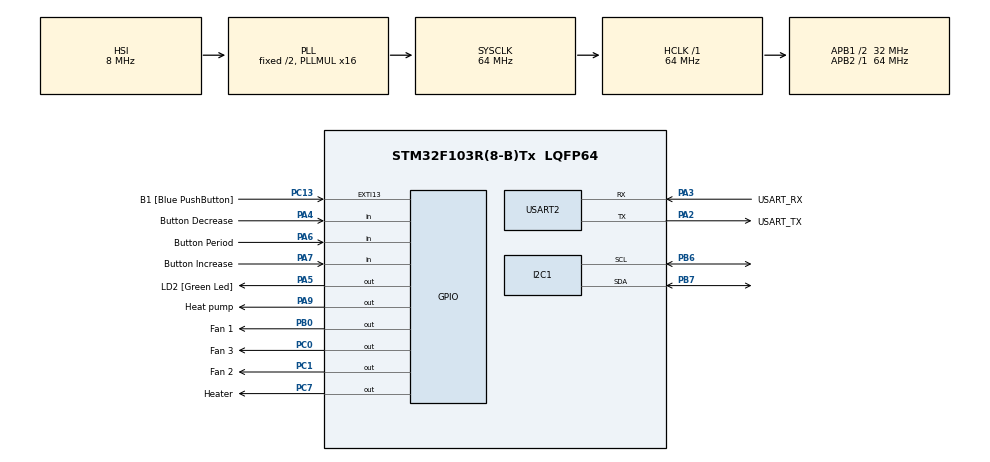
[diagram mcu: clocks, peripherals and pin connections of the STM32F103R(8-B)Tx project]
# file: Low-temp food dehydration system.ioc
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Mcu.Family=STM32F1
Mcu.Name=STM32F103R(8-B)Tx
Mcu.Package=LQFP64
NVIC.EXTI15_10_IRQn=true\:0\:0\:false\:false\:true\:true\:true
NVIC.PriorityGroup=NVIC_PRIORITYGROUP_4
NVIC.TIM2_IRQn=true\:0\:0\:false\:false\:true\:true\:true
NVIC.TIM3_IRQn=true\:0\:0\:false\:false\:true\:true\:true
PA13.GPIO_Label=TMS
PA13.Mode=Serial_Wire
PA13.Signal=SYS_JTMS-SWDIO
PA14.GPIO_Label=TCK
PA14.Mode=Serial_Wire
PA14.Signal=SYS_JTCK-SWCLK
PA2.GPIO_Label=USART_TX
PA2.GPIO_Mode=GPIO_MODE_AF_PP
PA2.GPIO_PuPd=GPIO_NOPULL
PA2.GPIO_Speed=GPIO_SPEED_FREQ_LOW
PA2.Mode=Asynchronous
PA2.Signal=USART2_TX
PA3.GPIO_Label=USART_RX
PA3.GPIO_Mode=GPIO_MODE_AF_PP
PA3.GPIO_PuPd=GPIO_NOPULL
PA3.GPIO_Speed=GPIO_SPEED_FREQ_LOW
PA3.Mode=Asynchronous
PA3.Signal=USART2_RX
PA4.GPIO_Label=Button Decrease
PA4.Signal=GPIO_Input
PA5.GPIO_Label=LD2 [Green Led]
PA5.GPIO_ModeDefaultOutputPP=GPIO_MODE_OUTPUT_PP
PA5.GPIO_PuPd=GPIO_NOPULL
PA5.GPIO_Speed=GPIO_SPEED_FREQ_LOW
PA5.Signal=GPIO_Output
PA6.GPIO_Label=Button Period
PA6.Signal=GPIO_Input
PA7.GPIO_Label=Button Increase
PA7.Signal=GPIO_Input
PA9.GPIO_Label=Heat pump
PA9.Signal=GPIO_Output
PB0.GPIO_Label=Fan 1
PB0.Signal=GPIO_Output
PB6.Mode=I2C
PB6.Signal=I2C1_SCL
PB7.Mode=I2C
PB7.Signal=I2C1_SDA
PC0.GPIO_Label=Fan 3
PC0.Signal=GPIO_Output
PC1.GPIO_Label=Fan 2
PC1.Signal=GPIO_Output
PC13-TAMPER-RTC.GPIO_Label=B1 [Blue PushButton]
PC13-TAMPER-RTC.GPIO_PuPd=GPIO_NOPULL
PC13-TAMPER-RTC.Signal=GPXTI13
PC14-OSC32_IN.Mode=LSE-External-Oscillator
PC14-OSC32_IN.Signal=RCC_OSC32_IN
PC15-OSC32_OUT.Mode=LSE-External-Oscillator
PC15-OSC32_OUT.Signal=RCC_OSC32_OUT
PC7.GPIO_Label=Heater
PC7.Signal=GPIO_Output
PD0-OSC_IN.Mode=HSE-External-Clock-Source
PD0-OSC_IN.Signal=RCC_OSC_IN
PD1-OSC_OUT.Mode=HSE-External-Clock-Source
PD1-OSC_OUT.Signal=RCC_OSC_OUT
ProjectManager.HeapSize=0x200
ProjectManager.StackSize=0x400
ProjectManager.TargetToolchain=STM32CubeIDE
RCC.AHBFreq_Value=64000000
RCC.APB1CLKDivider=RCC_HCLK_DIV2
RCC.APB1Freq_Value=32000000
RCC.APB1TimFreq_Value=64000000
RCC.APB2Freq_Value=64000000
RCC.APB2TimFreq_Value=64000000
RCC.HCLKFreq_Value=64000000
RCC.PLLMUL=RCC_PLL_MUL16
RCC.RTCClockSelection=RCC_RTCCLKSOURCE_LSE
RCC.SYSCLKFreq_VALUE=64000000
RCC.SYSCLKSource=RCC_SYSCLKSOURCE_PLLCLK
RCC.USBFreq_Value=64000000
TIM2.Period=10000 - 1
TIM2.Prescaler=6400 - 1
TIM3.Period=10 - 1
TIM3.Prescaler=6400 - 1
USART2.VirtualMode=VM_ASYNC
VP_TIM2_VS_ClockSourceINT.Mode=Internal
VP_TIM3_VS_ClockSourceINT.Mode=Internal
board=NUCLEO-F103RB

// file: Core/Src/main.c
g/* USER CODE BEGIN Header */
/**
  ******************************************************************************
  * @file           : main.c
  * @brief          : Main program body
  ******************************************************************************
  * @attention
  *
  * <h2><center>&copy; Copyright (c) 2020 STMicroelectronics.
  * All rights reserved.</center></h2>
  *
  * This software component is licensed by ST under BSD 3-Clause license,
  * the "License"; You may not use this file except in compliance with the
  * License. You may obtain a copy of the License at:
  *                        opensource.org/licenses/BSD-3-Clause
  *
  ******************************************************************************
  */
/* USER CODE END Header */
#include "main.h"

/* USER CODE BEGIN Includes */
#include <stdio.h>
#include <string.h>
#include "DHT.h"
#include "i2c-lcd.h"
/* USER CODE END Includes */

/* USER CODE BEGIN PD */
#define TEMPERATURE_THRESHOLD 30
#define HUMID_THRESHOLD 60
#define TRUE 1
#define FALSE 0
#define TIMEOUT 1
#define SEC_IT 1000
/* USER CODE END PD */

I2C_HandleTypeDef hi2c1;

TIM_HandleTypeDef htim2;
TIM_HandleTypeDef htim3;

UART_HandleTypeDef huart2;

/* USER CODE BEGIN PV */
//-- For measuring humidity and Temperature --
DHT_DataTypedef DHT11_Data;
double Temperature, Humidity;
//--------------------------------------------
enum TempFSMEnum {initTemp, heater, heatPump, non};
/*
 * init: initializes everything
 * heater: run the heater and fan 1 (LED 1 and 4 on; LED 2 and 5 off)
 * heatPump: run the heatPump and fan 2 (LED 2 and 5 on; LED 1 and 4 off)
 * non: runs nothing and turns off all 4 LEDs
 */
enum TempFSMEnum TempFSMState;
long heatEffect; // A counter to add fake heat into the measurement to simulate change in temp
double frequency; // The speed of Fan 1
//---- For period related things ----
uint8_t period; // The time it takes for heater and heat pump to turn on after they are off and vice versa
uint8_t periodInput; // Flag indicates if period is being input
uint16_t heatCounter; // Counts the heater and heat pump time
uint16_t humidityCounter; // Counts the blinking period of LED 3 (Fan 1)
//-----------------------------------
//------------ For serial printing -----------
uint8_t buf[50];
char uart_buf[100];
int uart_buf_len;
//--------------------------------------------
//---------------- For buttons ---------------
enum buttonStateEnum {notPressed, pressed};
/*
 * notPressed: button is released
 * pressed: considered as single pressing
 */
enum buttonStateEnum buttonPeriod;
enum buttonStateEnum buttonIncrease;
enum buttonStateEnum buttonDecrease;
__IO uint8_t firstRead[3] = {0};
__IO uint8_t secondRead[3] = {0};
//--------------------------------------------
char lcd_buf[50]; // Printing on LCD
uint8_t changeLCDMode; // Flag indicates a change from showing data to showing period
uint8_t timeoutFlag; // Flag indicates the beginning of the end of the timeout
/* USER CODE END PV */

void SystemClock_Config(void);
static void MX_GPIO_Init(void);
static void MX_USART2_UART_Init(void);
static void MX_I2C1_Init(void);
static void MX_TIM3_Init(void);
static void MX_TIM2_Init(void);
/* USER CODE BEGIN PFP */
void initialize(void); // Initialize certain variables at the beginning of the run

void turnOnLED(GPIO_TypeDef *GPIOx, uint16_t GPIO_Pin); // Turn on a specific LED
void turnOffLED(GPIO_TypeDef *GPIOx, uint16_t GPIO_Pin); // Turn off a specific LED
void toggleLED(GPIO_TypeDef *GPIOx, uint16_t GPIO_Pin); // Toggle a specific LED

void readButtonPeriod(void); // Read the 1st button (Uses for getting in and out of period editing mode)
void readButtonIncrease(void); // Read the 2nd button (Uses for increasing the period)
void readButtonDecrease(void); // Read the 3rd button (Uses for decreasing the period)

void adjustPeriod(void); // Let the user to adjust the period

void readData(void); // Read Temperature and Humidity
void printDataTerminal(void); // Print Temperature and Humidity readings on the Terminal
void printDataLCD(void); // Print Temperature and Humidity readings on the LCD

void FSM_Temperature(void); // FSM for Temperature
void runHeater(void); // Runs the heater
void runHeatPump(void); // Runs the heat pump

void Fan1(void); // Runs fan 1
/* USER CODE END PFP */

/* USER CODE BEGIN 0 */
void initialize(void) {
	buttonPeriod = notPressed;
	buttonIncrease = notPressed;
	buttonDecrease = notPressed;
	TempFSMState = initTemp;
	periodInput = TRUE;
	humidityCounter = 0;
	period = 0;
	frequency = 100;
	heatEffect = 0;
	timeoutFlag = FALSE;
	turnOffLED(Heater_GPIO_Port, Heater_Pin);
	turnOffLED(Heat_pump_GPIO_Port, Heat_pump_Pin);
	turnOffLED(Fan_1_GPIO_Port, Fan_1_Pin);
	turnOffLED(Fan_2_GPIO_Port, Fan_2_Pin);
	turnOffLED(Fan_3_GPIO_Port, Fan_3_Pin);
}

void turnOnLED(GPIO_TypeDef *GPIOx, uint16_t GPIO_Pin) {
	HAL_GPIO_WritePin(GPIOx, GPIO_Pin, GPIO_PIN_SET);
}

void turnOffLED(GPIO_TypeDef *GPIOx, uint16_t GPIO_Pin) {
	HAL_GPIO_WritePin(GPIOx, GPIO_Pin, GPIO_PIN_RESET);
}

void toggleLED(GPIO_TypeDef *GPIOx, uint16_t GPIO_Pin) {
	HAL_GPIO_TogglePin(GPIOx, GPIO_Pin);
}

void readButtonPeriod(void) {
	firstRead[0] = secondRead[0];
	secondRead[0] = !(HAL_GPIO_ReadPin(Button_Period_GPIO_Port, Button_Period_Pin));
	if (!firstRead[0] && secondRead[0]) {
		buttonPeriod = pressed;
	} else {
		buttonPeriod = notPressed;
	}
}

void readButtonIncrease(void) {
	firstRead[1] = secondRead[1];
	secondRead[1] = !(HAL_GPIO_ReadPin(Button_Increase_GPIO_Port, Button_Increase_Pin));
	if (!firstRead[1] && secondRead[1]) {
		buttonIncrease = pressed;
	} else {
		buttonIncrease = notPressed;
	}
}

void readButtonDecrease(void) {
	firstRead[2] = secondRead[2];
	secondRead[2] = !(HAL_GPIO_ReadPin(Button_Decrease_GPIO_Port, Button_Decrease_Pin));
	if (!firstRead[2] && secondRead[2]) {
		buttonDecrease = pressed;
	} else {
		buttonDecrease = notPressed;
	}
}

void adjustPeriod(void) {
	TempFSMState = initTemp;
	readButtonIncrease();
	readButtonDecrease();
	if (buttonIncrease == pressed) {
		period++;
	} else if (buttonDecrease == pressed) {
		if (period > 0) {
			period--;
		}
	} else if (buttonPeriod == pressed) {
		if (period > 0) {
			periodInput = FALSE;
		}
	}
}

void readData(void) {
	DHT_GetData(&DHT11_Data);
	Temperature = DHT11_Data.Temperature;
	Humidity = DHT11_Data.Humidity;
	humidityCounter = 0;
	Temperature += heatEffect * 0.0001; // Final result would be +0.4/2s for heater and -0.2/2s for heat pump
}

void printDataTerminal(void) {
	if (DHT11_Data.Error != TIMEOUT) {
		uart_buf_len = sprintf(uart_buf, "Temp: %.2f%cC\033[0K\r\nHumidity: %.2f%%\033[0K\r\nFan 1 speed: %.2f%%\033[J\033[H", Temperature , 186, Humidity, 100 - frequency);
		HAL_UART_Transmit(&huart2, (uint8_t *) uart_buf, uart_buf_len, 100);
	}
}

void printDataLCD(void) {
	if (DHT11_Data.Error != TIMEOUT) {
		if (periodInput == FALSE) {
			changeLCDMode = FALSE;
			sprintf(lcd_buf, "Temp: %.2f%cC", Temperature, 223);
			lcd_goto_XY(1, 0);
			lcd_send_string(lcd_buf);
			sprintf(lcd_buf, "Humidity: %.2f%%", Humidity);
			lcd_goto_XY(2, 0);
			lcd_send_string(lcd_buf);
		} else {
			if (changeLCDMode == FALSE) {
				lcd_clear_display();
				changeLCDMode = TRUE;
			}
			sprintf(lcd_buf, "Period: %u", period);
			lcd_goto_XY(1, 0);
			lcd_send_string(lcd_buf);
		}
	} else {
		//lcd_clear_display();
		sprintf(lcd_buf, "TIME OUT        ");
		lcd_goto_XY(1, 0);
		lcd_send_string(lcd_buf);
		sprintf(lcd_buf, "                ");
		lcd_goto_XY(2, 0);
		lcd_send_string(lcd_buf);
	}

}

void FSM_Temperature(void) {
	switch (TempFSMState) {
	case initTemp:
		heatCounter = 0;
		turnOffLED(Heater_GPIO_Port, Heater_Pin);
		turnOffLED(Heat_pump_GPIO_Port, Heat_pump_Pin);
		turnOffLED(Fan_2_GPIO_Port, Fan_2_Pin);
		turnOffLED(Fan_3_GPIO_Port, Fan_3_Pin);
		TempFSMState = heater;
		break;
	case heater:
		runHeater();
		break;
	case heatPump:
		runHeatPump();
		break;
	case non:
		turnOffLED(Heater_GPIO_Port, Heater_Pin);
		turnOffLED(Heat_pump_GPIO_Port, Heat_pump_Pin);
		turnOffLED(Fan_2_GPIO_Port, Fan_2_Pin);
		turnOffLED(Fan_3_GPIO_Port, Fan_3_Pin);
		break;
	}
	heatCounter++;
	if (heatCounter >=0 && heatCounter < period * SEC_IT && Temperature < TEMPERATURE_THRESHOLD) {
		TempFSMState = heater;
	} else if (heatCounter >= period * SEC_IT && heatCounter <= period * SEC_IT * 2) {
		TempFSMState = heatPump;
		if (heatCounter == period * SEC_IT * 2) {
			heatCounter = 0;
		}
	} else {
		TempFSMState = non;
	}
}

void runHeater(void) {
	turnOnLED(Heater_GPIO_Port, Heater_Pin);
	turnOffLED(Heat_pump_GPIO_Port, Heat_pump_Pin);
	turnOnLED(Fan_2_GPIO_Port, Fan_2_Pin);
	turnOffLED(Fan_3_GPIO_Port, Fan_3_Pin);
	heatEffect += 2;
}

void runHeatPump(void) {
	turnOnLED(Heat_pump_GPIO_Port, Heat_pump_Pin);
	turnOffLED(Heater_GPIO_Port, Heater_Pin);
	turnOnLED(Fan_3_GPIO_Port, Fan_3_Pin);
	turnOffLED(Fan_2_GPIO_Port, Fan_2_Pin);
	heatEffect--;
}

void Fan1(void) {
	frequency = 100 - ((100 * (Humidity - HUMID_THRESHOLD)) / (100 - HUMID_THRESHOLD));
	if (Humidity > HUMID_THRESHOLD) {
		if (humidityCounter == frequency * SEC_IT / 100) {
			toggleLED(Fan_1_GPIO_Port, Fan_1_Pin);
			humidityCounter = 0;
		} else {
			humidityCounter++;
		}
	} else {
		frequency = 100;
		humidityCounter = 0;
		turnOffLED(Fan_1_GPIO_Port, Fan_1_Pin);
	}
}
/* USER CODE END 0 */

int main(void)
{

  /* MCU Configuration--------------------------------------------------------*/

  /* Reset of all peripherals, Initializes the Flash interface and the Systick. */
  HAL_Init();

  /* USER CODE BEGIN Init */
  initialize();
  /* USER CODE END Init */

  /* Configure the system clock */
  SystemClock_Config();

  /* Initialize all configured peripherals */
  MX_GPIO_Init();
  MX_USART2_UART_Init();
  MX_I2C1_Init();
  MX_TIM3_Init();
  MX_TIM2_Init();
  /* USER CODE BEGIN 2 */
  HAL_TIM_Base_Start_IT(&htim2);
  HAL_TIM_Base_Start_IT(&htim3);
  lcd_init();
  /* USER CODE END 2 */

  /* Infinite loop */
  /* USER CODE BEGIN WHILE */
  while (1)
  {
	  printDataLCD();
	  if (DHT11_Data.Error == TIMEOUT) {
		  timeoutFlag = TRUE;
		  turnOffLED(Heater_GPIO_Port, Heater_Pin);
		  turnOffLED(Heat_pump_GPIO_Port, Heat_pump_Pin);
		  turnOffLED(Fan_1_GPIO_Port, Fan_1_Pin);
		  turnOffLED(Fan_2_GPIO_Port, Fan_2_Pin);
		  turnOffLED(Fan_3_GPIO_Port, Fan_3_Pin);
	  } else {
		  if (timeoutFlag == TRUE) {
			  timeoutFlag = FALSE;
			  initialize();
			  lcd_init();
			  TempFSMState = initTemp;
		  }
	  }
    /* USER CODE END WHILE */

  }
}

void SystemClock_Config(void)
{
  RCC_OscInitTypeDef RCC_OscInitStruct = {0};
  RCC_ClkInitTypeDef RCC_ClkInitStruct = {0};

  /** Initializes the RCC Oscillators according to the specified parameters
  * in the RCC_OscInitTypeDef structure.
  */
  RCC_OscInitStruct.OscillatorType = RCC_OSCILLATORTYPE_HSI;
  RCC_OscInitStruct.HSIState = RCC_HSI_ON;
  RCC_OscInitStruct.HSICalibrationValue = RCC_HSICALIBRATION_DEFAULT;
  RCC_OscInitStruct.PLL.PLLState = RCC_PLL_ON;
  RCC_OscInitStruct.PLL.PLLSource = RCC_PLLSOURCE_HSI_DIV2;
  RCC_OscInitStruct.PLL.PLLMUL = RCC_PLL_MUL16;
  if (HAL_RCC_OscConfig(&RCC_OscInitStruct) != HAL_OK)
  {
    Error_Handler();
  }
  /** Initializes the CPU, AHB and APB buses clocks
  */
  RCC_ClkInitStruct.ClockType = RCC_CLOCKTYPE_HCLK|RCC_CLOCKTYPE_SYSCLK
                              |RCC_CLOCKTYPE_PCLK1|RCC_CLOCKTYPE_PCLK2;
  RCC_ClkInitStruct.SYSCLKSource = RCC_SYSCLKSOURCE_PLLCLK;
  RCC_ClkInitStruct.AHBCLKDivider = RCC_SYSCLK_DIV1;
  RCC_ClkInitStruct.APB1CLKDivider = RCC_HCLK_DIV2;
  RCC_ClkInitStruct.APB2CLKDivider = RCC_HCLK_DIV1;

  if (HAL_RCC_ClockConfig(&RCC_ClkInitStruct, FLASH_LATENCY_2) != HAL_OK)
  {
    Error_Handler();
  }
}

static void MX_I2C1_Init(void)
{

  hi2c1.Instance = I2C1;
  hi2c1.Init.ClockSpeed = 100000;
  hi2c1.Init.DutyCycle = I2C_DUTYCYCLE_2;
  hi2c1.Init.OwnAddress1 = 0;
  hi2c1.Init.AddressingMode = I2C_ADDRESSINGMODE_7BIT;
  hi2c1.Init.DualAddressMode = I2C_DUALADDRESS_DISABLE;
  hi2c1.Init.OwnAddress2 = 0;
  hi2c1.Init.GeneralCallMode = I2C_GENERALCALL_DISABLE;
  hi2c1.Init.NoStretchMode = I2C_NOSTRETCH_DISABLE;
  if (HAL_I2C_Init(&hi2c1) != HAL_OK)
  {
    Error_Handler();
  }

}

static void MX_TIM2_Init(void)
{

  TIM_ClockConfigTypeDef sClockSourceConfig = {0};
  TIM_MasterConfigTypeDef sMasterConfig = {0};

  htim2.Instance = TIM2;
  htim2.Init.Prescaler = 6400 - 1;
  htim2.Init.CounterMode = TIM_COUNTERMODE_UP;
  htim2.Init.Period = 10000 - 1;
  htim2.Init.ClockDivision = TIM_CLOCKDIVISION_DIV1;
  htim2.Init.AutoReloadPreload = TIM_AUTORELOAD_PRELOAD_DISABLE;
  if (HAL_TIM_Base_Init(&htim2) != HAL_OK)
  {
    Error_Handler();
  }
  sClockSourceConfig.ClockSource = TIM_CLOCKSOURCE_INTERNAL;
  if (HAL_TIM_ConfigClockSource(&htim2, &sClockSourceConfig) != HAL_OK)
  {
    Error_Handler();
  }
  sMasterConfig.MasterOutputTrigger = TIM_TRGO_RESET;
  sMasterConfig.MasterSlaveMode = TIM_MASTERSLAVEMODE_DISABLE;
  if (HAL_TIMEx_MasterConfigSynchronization(&htim2, &sMasterConfig) != HAL_OK)
  {
    Error_Handler();
  }

}

static void MX_TIM3_Init(void)
{

  TIM_ClockConfigTypeDef sClockSourceConfig = {0};
  TIM_MasterConfigTypeDef sMasterConfig = {0};

  htim3.Instance = TIM3;
  htim3.Init.Prescaler = 6400 - 1;
  htim3.Init.CounterMode = TIM_COUNTERMODE_UP;
  htim3.Init.Period = 10 - 1;
  htim3.Init.ClockDivision = TIM_CLOCKDIVISION_DIV1;
  htim3.Init.AutoReloadPreload = TIM_AUTORELOAD_PRELOAD_DISABLE;
  if (HAL_TIM_Base_Init(&htim3) != HAL_OK)
  {
    Error_Handler();
  }
  sClockSourceConfig.ClockSource = TIM_CLOCKSOURCE_INTERNAL;
  if (HAL_TIM_ConfigClockSource(&htim3, &sClockSourceConfig) != HAL_OK)
  {
    Error_Handler();
  }
  sMasterConfig.MasterOutputTrigger = TIM_TRGO_RESET;
  sMasterConfig.MasterSlaveMode = TIM_MASTERSLAVEMODE_DISABLE;
  if (HAL_TIMEx_MasterConfigSynchronization(&htim3, &sMasterConfig) != HAL_OK)
  {
    Error_Handler();
  }

}

static void MX_USART2_UART_Init(void)
{

  huart2.Instance = USART2;
  huart2.Init.BaudRate = 115200;
  huart2.Init.WordLength = UART_WORDLENGTH_8B;
  huart2.Init.StopBits = UART_STOPBITS_1;
  huart2.Init.Parity = UART_PARITY_NONE;
  huart2.Init.Mode = UART_MODE_TX_RX;
  huart2.Init.HwFlowCtl = UART_HWCONTROL_NONE;
  huart2.Init.OverSampling = UART_OVERSAMPLING_16;
  if (HAL_UART_Init(&huart2) != HAL_OK)
  {
    Error_Handler();
  }

}

static void MX_GPIO_Init(void)
{
  GPIO_InitTypeDef GPIO_InitStruct = {0};

  /* GPIO Ports Clock Enable */
  __HAL_RCC_GPIOC_CLK_ENABLE();
  __HAL_RCC_GPIOD_CLK_ENABLE();
  __HAL_RCC_GPIOA_CLK_ENABLE();
  __HAL_RCC_GPIOB_CLK_ENABLE();

  /*Configure GPIO pin Output Level */
  HAL_GPIO_WritePin(GPIOC, Fan_3_Pin|Fan_2_Pin|Heater_Pin, GPIO_PIN_RESET);

  /*Configure GPIO pin Output Level */
  HAL_GPIO_WritePin(GPIOA, LD2_Pin|Heat_pump_Pin, GPIO_PIN_RESET);

  /*Configure GPIO pin Output Level */
  HAL_GPIO_WritePin(Fan_1_GPIO_Port, Fan_1_Pin, GPIO_PIN_RESET);

  /*Configure GPIO pin : B1_Pin */
  GPIO_InitStruct.Pin = B1_Pin;
  GPIO_InitStruct.Mode = GPIO_MODE_IT_RISING;
  GPIO_InitStruct.Pull = GPIO_NOPULL;
  HAL_GPIO_Init(B1_GPIO_Port, &GPIO_InitStruct);

  /*Configure GPIO pins : Fan_3_Pin Fan_2_Pin Heater_Pin */
  GPIO_InitStruct.Pin = Fan_3_Pin|Fan_2_Pin|Heater_Pin;
  GPIO_InitStruct.Mode = GPIO_MODE_OUTPUT_PP;
  GPIO_InitStruct.Pull = GPIO_NOPULL;
  GPIO_InitStruct.Speed = GPIO_SPEED_FREQ_LOW;
  HAL_GPIO_Init(GPIOC, &GPIO_InitStruct);

  /*Configure GPIO pins : Button_Decrease_Pin Button_Period_Pin Button_Increase_Pin */
  GPIO_InitStruct.Pin = Button_Decrease_Pin|Button_Period_Pin|Button_Increase_Pin;
  GPIO_InitStruct.Mode = GPIO_MODE_INPUT;
  GPIO_InitStruct.Pull = GPIO_NOPULL;
  HAL_GPIO_Init(GPIOA, &GPIO_InitStruct);

  /*Configure GPIO pins : LD2_Pin Heat_pump_Pin */
  GPIO_InitStruct.Pin = LD2_Pin|Heat_pump_Pin;
  GPIO_InitStruct.Mode = GPIO_MODE_OUTPUT_PP;
  GPIO_InitStruct.Pull = GPIO_NOPULL;
  GPIO_InitStruct.Speed = GPIO_SPEED_FREQ_LOW;
  HAL_GPIO_Init(GPIOA, &GPIO_InitStruct);

  /*Configure GPIO pin : Fan_1_Pin */
  GPIO_InitStruct.Pin = Fan_1_Pin;
  GPIO_InitStruct.Mode = GPIO_MODE_OUTPUT_PP;
  GPIO_InitStruct.Pull = GPIO_NOPULL;
  GPIO_InitStruct.Speed = GPIO_SPEED_FREQ_LOW;
  HAL_GPIO_Init(Fan_1_GPIO_Port, &GPIO_InitStruct);

  /* EXTI interrupt init*/
  HAL_NVIC_SetPriority(EXTI15_10_IRQn, 0, 0);
  HAL_NVIC_EnableIRQ(EXTI15_10_IRQn);

}

/* USER CODE BEGIN 4 */
void HAL_TIM_PeriodElapsedCallback(TIM_HandleTypeDef *htim)
{
	if (htim == &htim3 && DHT11_Data.Error != TIMEOUT) {
		readButtonPeriod();
		if (periodInput == FALSE) {
			if (buttonPeriod == pressed) {
				periodInput = TRUE;
				lcd_clear_display();
			} else {
				FSM_Temperature();
				Fan1();
			}
		} else {
			adjustPeriod();
		}
	}
	if (htim == &htim2) {
		readData();
		printDataTerminal();
	}
}
/* USER CODE END 4 */

void Error_Handler(void)
{
  __disable_irq();
  while (1)
  {
  }
}

/************************ (C) COPYRIGHT STMicroelectronics *****END OF FILE****/
